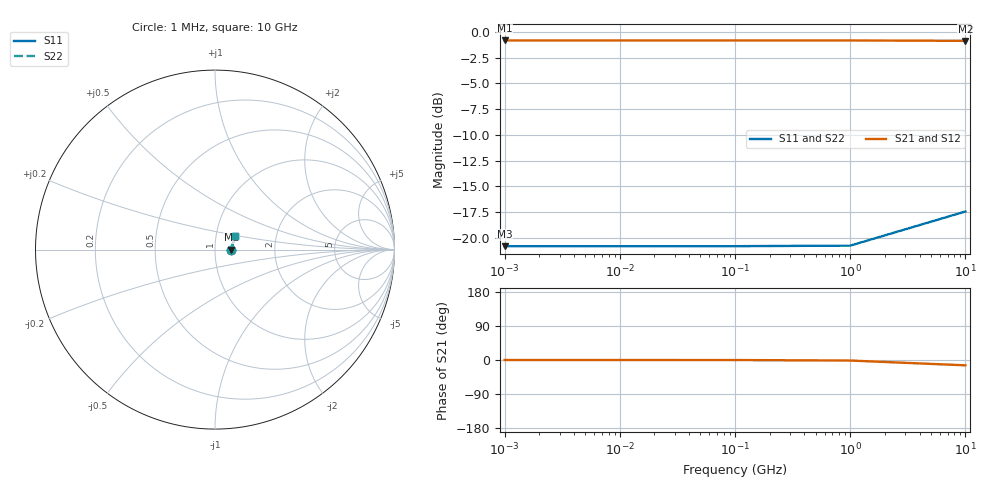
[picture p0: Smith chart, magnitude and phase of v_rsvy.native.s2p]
! Sonnet Data File
! From: em Version : 18.53-Lite
! From Project: v_rsvy
! Data is NOT De-embedded
! Data File Written: 10/12/2026 12:07:31
!< HDATE 10/12/2026 12:07:31
!< MDATE 10/12/2026 12:07:31
# GHZ S RI R 50.00000
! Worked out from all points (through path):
!   5 points, 1 MHz to 10 GHz, reference 50 ohm
!   highest |S21| = -0.83 dB at 1 MHz (marker M1); lowest = -0.9 dB at 10 GHz (marker M2)
!   lowest |S11| = -20.8 dB at 1 MHz (marker M3), VSWR 1.20, Z = 60 + j0.000959 ohm
!   |S11| at or under -10 dB: start of sweep to end of sweep
!   |S22| runs from -20.8 to -17.5 dB; largest |S21 - S12| = 3.8e-11
0.001  0.0909 7.92e-06  0.9091 -2.24e-05  0.9091 -2.24e-05  0.0909 7.92e-06
0.01  0.0909 7.85e-05  0.9091 -0.000224  0.9091 -0.000224  0.0909 7.85e-05
0.1  0.0909 0.000784  0.9091 -0.00224  0.9091 -0.00224  0.0909 0.000784
1  0.0911 0.00784  0.9088 -0.0224  0.9088 -0.0224  0.0911 0.00784
10  0.1113 0.0746  0.8781 -0.2197  0.8781 -0.2197  0.1113 0.0746
